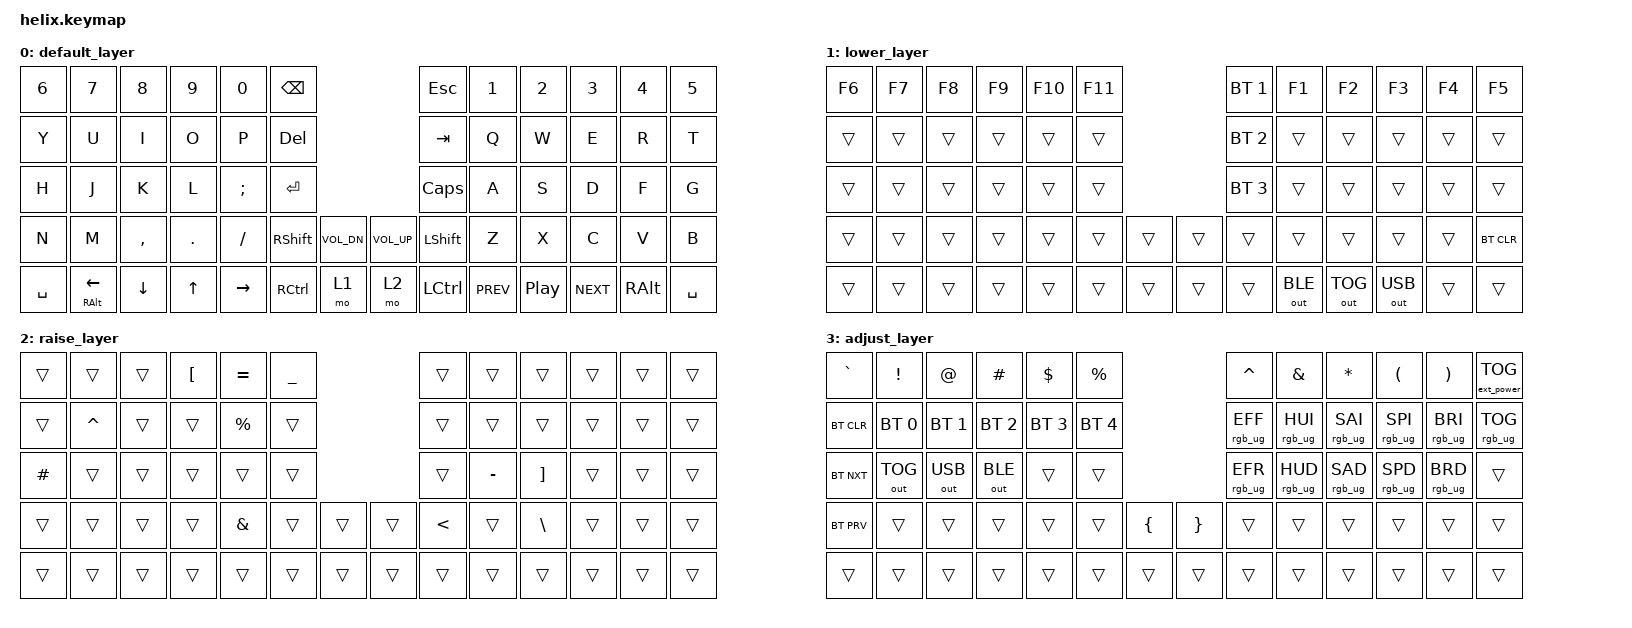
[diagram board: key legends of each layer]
 /*
 * Copyright (c) 2020 The ZMK Contributors
 *Custom by sub - this keeb is meant to be used with left side on the right and vice versa
 * SPDX-License-Identifier: MIT
 */

 #include <behaviors.dtsi>
 #include <dt-bindings/zmk/keys.h>
 #include <dt-bindings/zmk/bt.h>
 #include <dt-bindings/zmk/rgb.h>
 #include <dt-bindings/zmk/ext_power.h>
 #include <dt-bindings/zmk/outputs.h>

 #define DEFAULT 0
 #define LOWER  1
 #define RAISE  2
 #define ADJUST 3

/* NOTE: At the time of the creation of this keymap, there are no specified codes for 'eisuu' and 'kana' input in ZMK.
However, 'LANG1' and 'LANG2' are fully-functioning candidates for 'kana' and 'eisuu' input respectively.
As such, those are in use within the default layer at this time.*/

/ {
       keymap {
              compatible = "zmk,keymap";

              default_layer {
 // ---------------------------------------------------------------------------------------------------------------------------------
 // |   6    |   7    |   8    |   9    |   0    |   BSPC |                                      |   esc  |   1    |   2    |   3    |   4    |   5    |
 // |   Y    |   U    |   I    |   O    |   P    |   DEL  |                                      |   TAB  |   A    |   Z    |   E    |   R    |   T    |
 // |   H    |   J    |   K    |   L    |   M    |   RET  |                                      |  NMLCK |   Q    |   S    |   D    |   F    |   G    |
 // |   N    |   ,    |   ;    |   :    |   !    | SHIFT  |vol Dwn |                    | Vol Up | SHIFT  |   W    |   X    |   C    |   V    |   B    |
 // | SPACE  |Arrow/ALT|arrow  |  arrow | arrow  | CTRL   | MOD1   |                    |  MOD2  | CTRL   |  Prev  |  play  |  next  |  ALT   |  SPACE |
                     bindings = <
       &kp N6    &kp N7     &kp N8      &kp N9   &kp N0    &kp BSPC                                   &kp ESCAPE   &kp N1     &kp N2           &kp N3     &kp N4    &kp N5
       &kp Y     &kp U      &kp I       &kp O    &kp P     &kp DEL                                    &kp TAB      &kp Q      &kp W            &kp E      &kp R     &kp T
       &kp H     &kp J      &kp K       &kp L    &kp SEMI  &kp RET                                    &kp CAPS     &kp A      &kp S            &kp D      &kp F     &kp G
       &kp N     &kp M      &kp COMMA   &kp DOT  &kp FSLH  &kp RSHIFT &kp C_VOL_DN      &kp C_VOL_UP  &kp LSHIFT   &kp Z      &kp X            &kp C      &kp V     &kp B
       &kp SPACE &mt RALT LEFT &kp DOWN &kp UP   &kp RIGHT &kp RCTRL  &mo 1             &mo 2         &kp LCTRL    &kp C_PREV &kp C_PLAY_PAUSE &kp C_NEXT &kp RALT  &kp SPACE
                     >;
              };
              lower_layer {
 // ---------------------------------------------------------------------------------------------------------------------------------
 // |  F6  |  F7  |  F8  |  F9  |  F10 |  F11 |                                  |  BT1 |  F1   |  F2   |  F3   |  F4  |  F5  |
 // |      |      |      |      |      |      |                                  |  BT2 |       |       |       |      |      |
 // |      |      |      |      |      |      |                                  |  BT3 |       |       |       |      |      |
 // |      |      |      |      |      |      |  (   |                    |  )   |      |       |       |       |      |BT_Clr|
 // |      |      |      |      |      |      |      |                    |      |      |OUT BLE|OUT TOG|OUT USB|      |      |
                     bindings = <
       &kp F6    &kp F7   &kp F8 &kp F9   &kp F10   &kp F11                        &bt BT_SEL 1 &kp F1       &kp F2       &kp F3        &kp F4   &kp F5
       &trans    &trans   &trans &trans   &trans    &trans                         &bt BT_SEL 2 &trans       &trans       &trans        &trans   &trans
       &trans    &trans   &trans &trans   &trans    &trans                         &bt BT_SEL 3 &trans       &trans       &trans        &trans   &trans
       &trans    &trans   &trans &trans   &trans    &trans   &trans         &trans &trans       &trans       &trans       &trans        &trans   &bt BT_CLR
       &trans    &trans   &trans &trans   &trans    &trans   &trans         &trans &trans       &out OUT_BLE &out OUT_TOG &out OUT_USB  &trans   &trans
                     >;
              };
              raise_layer {
 // ---------------------------------------------------------------------------------------------------------------------------------
 // |       |       |       |    )  |   =   |   _   |                                    |       |       |       |       |       |       |
 // |       |   ^   |       |       |   %   |       |                                    |       |       |       |       |       |       |
 // |   #   |       |       |       |       |       |                                    |       |       |   $   |       |       |       |
 // |       |       |       |       |   &   |       |       |                    |       |   LT  |       |   *   |       |       |       |
 // |       |       |       |       |       |       |       |                    |       |       |       |       |       |       |       |
                     bindings = <
       &trans    &trans    &trans &kp LBKT &kp EQUAL &kp UNDER                      &trans  &trans    &trans     &trans     &trans    &trans
       &trans    &kp CARET &trans &trans   &kp PRCNT &trans                         &trans  &trans    &trans     &trans     &trans    &trans
       &kp HASH  &trans    &trans &trans   &trans    &trans                         &trans  &kp MINUS &kp RBKT   &trans     &trans    &trans
       &trans    &trans    &trans &trans   &kp AMPS  &trans  &trans          &trans &kp LT  &trans    &kp BSLH   &trans     &trans    &trans
       &trans    &trans    &trans &trans   &trans    &trans  &trans          &trans &trans  &trans    &trans     &trans     &trans    &trans 
                     >;
              };
              adjust_layer {
 // ---------------------------------------------------------------------------------------------------------------------------------
 // |    `     |    !     |    @     |    #     |    $     |    %     |                                          |    ^     |    &     |    *     |    (     |    )     |  EP TOG  |
 // |  BT CLR  | BT SEL0  | BT SEL1  | BT SEL2  | BGT SEL3 | BT SEL4  |                                          | RGB EFF+ | RGB HUE+ | RGB SAT+ | RGB SPD+ | RGB BRI+ | RGB TOG  |
 // |  BT NXT  | OUT TOG  | OUT USB  | OUT BLE  |          |          |                                          | RGB EFF- | RGB HUE- | RGB SAT- | RGB SPD- | RGB BRI- |          |
 // |  BT PRV  |          |          |          |          |          |    {     |                    |    }     |          |          |          |          |          |          |
 // |          |          |          |          |          |          |          |                    |          |          |          |          |          |          |          |
                     bindings = <
       &kp GRAVE  &kp EXCL     &kp AT       &kp HASH     &kp DLLR     &kp PRCNT                             &kp CARET       &kp AMPS        &kp ASTRK       &kp LPAR        &kp RPAR        &ext_power EP_TOG
       &bt BT_CLR &bt BT_SEL 0 &bt BT_SEL 1 &bt BT_SEL 2 &bt BT_SEL 3 &bt BT_SEL 4                          &rgb_ug RGB_EFF &rgb_ug RGB_HUI &rgb_ug RGB_SAI &rgb_ug RGB_SPI &rgb_ug RGB_BRI &rgb_ug RGB_TOG
       &bt BT_NXT &out OUT_TOG &out OUT_USB &out OUT_BLE &trans       &trans                                &rgb_ug RGB_EFR &rgb_ug RGB_HUD &rgb_ug RGB_SAD &rgb_ug RGB_SPD &rgb_ug RGB_BRD &trans
       &bt BT_PRV &trans       &trans       &trans       &trans       &trans       &kp LBRC        &kp RBRC &trans          &trans          &trans          &trans          &trans          &trans
       &trans     &trans       &trans       &trans       &trans       &trans       &trans          &trans   &trans          &trans          &trans          &trans          &trans          &trans
                     >;
              };
       };
};
